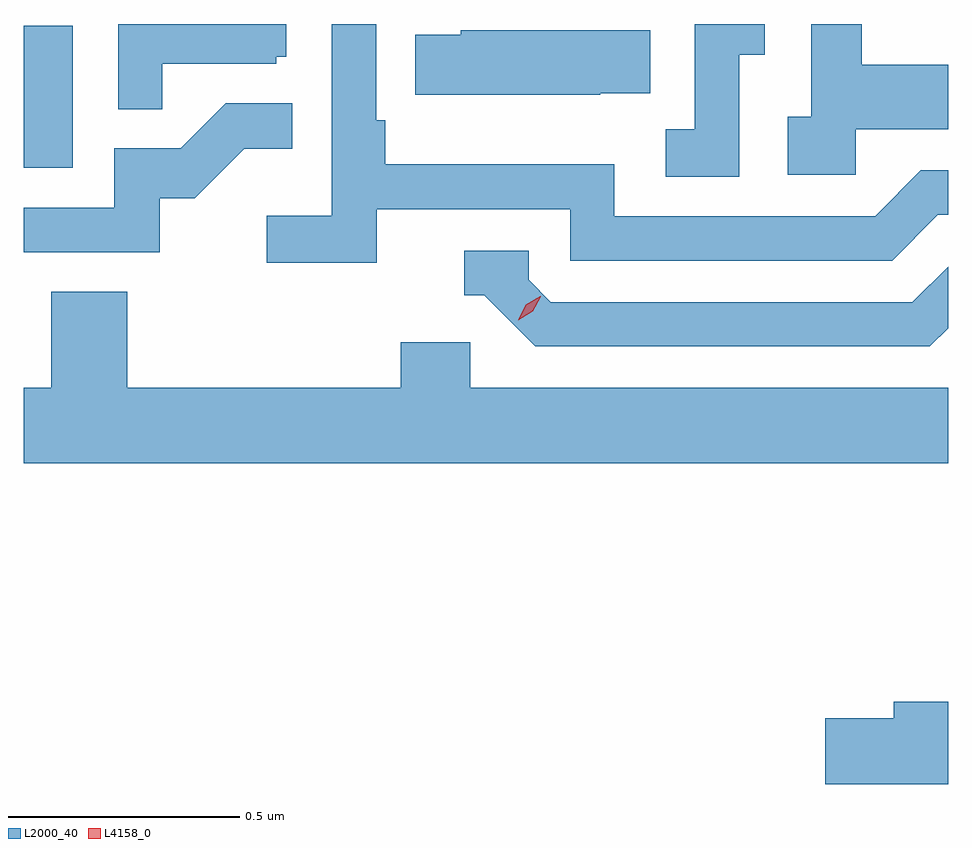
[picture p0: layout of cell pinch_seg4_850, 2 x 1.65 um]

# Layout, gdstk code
import gdstk
lib = gdstk.Library(unit=1e-6, precision=1e-09)
def R(c, l, rs):  # rectangles x0, y0, x1, y1
    for r in rs: c.add(gdstk.rectangle(r[:2], r[2:], *l))
def P(c, l, *ps):  # polygons
    for p in ps: c.add(gdstk.Polygon(p, *l))
L2000_40 = (2000, 40)
L4158_0 = (4158, 0)

pinch_seg4_850 = lib.new_cell('pinch_seg4_850')
R(pinch_seg4_850, L2000_40, [(840.924,808.116,841.03,808.423)])
P(pinch_seg4_850, L2000_40, [(841.223,808.341),(841.47,808.341),(841.47,808.356),(841.492,808.356),(841.492,808.427),(841.128,808.427),(841.128,808.243),(841.223,808.243)],
  [(842.724,808.199),(842.924,808.199),(842.924,808.339),(842.737,808.339),(842.737,808.427),(842.628,808.427),(842.628,808.226),(842.577,808.226),(842.577,808.101),(842.724,808.101)],
  [(841.688,808.026),(842.106,808.026),(842.106,807.915),(842.803,807.915),(842.902,808.014),(842.924,808.014),(842.924,808.11),(842.865,808.11),(842.766,808.011),(842.202,808.011),(842.202,808.123),(841.706,808.123),(841.706,808.219),(841.686,808.219),(841.686,808.427),(841.59,808.427),(841.59,808.012),(841.449,808.012),(841.449,807.91),(841.688,807.91)],
  [(842.472,808.36),(842.527,808.36),(842.527,808.427),(842.376,808.427),(842.376,808.199),(842.313,808.199),(842.313,808.096),(842.472,808.096)],
  [(842.171,808.277),(842.279,808.277),(842.279,808.414),(841.869,808.414),(841.869,808.404),(841.771,808.404),(841.771,808.274),(842.171,808.274)],
  [(841.218,808.05),(841.294,808.05),(841.401,808.157),(841.505,808.157),(841.505,808.256),(841.361,808.256),(841.263,808.158),(841.119,808.158),(841.119,808.029),(840.924,808.029),(840.924,807.933),(841.218,807.933)],
  [(842.924,807.769),(842.924,807.902),(842.847,807.825),(842.064,807.825),(842.016,807.873),(842.016,807.936),(841.877,807.936),(841.877,807.84),(841.92,807.84),(842.031,807.729),(842.884,807.729)],
  [(842.924,807.64),(841.89,807.64),(841.89,807.738),(841.739,807.738),(841.739,807.64),(841.148,807.64),(841.148,807.848),(840.983,807.848),(840.983,807.64),(840.924,807.64),(840.924,807.476),(842.924,807.476)],
  [(842.924,806.96),(842.807,806.96),(842.807,806.924),(842.658,806.924),(842.658,806.782),(842.924,806.782)])
P(pinch_seg4_850, L4158_0, [(841.994,807.786),(841.994,807.786),(842.01,807.819),(842.041,807.838),(842.042,807.838),(842.042,807.837),(842.025,807.805),(841.994,807.786)])

lib.write_gds('pinch_seg4_850.gds')
